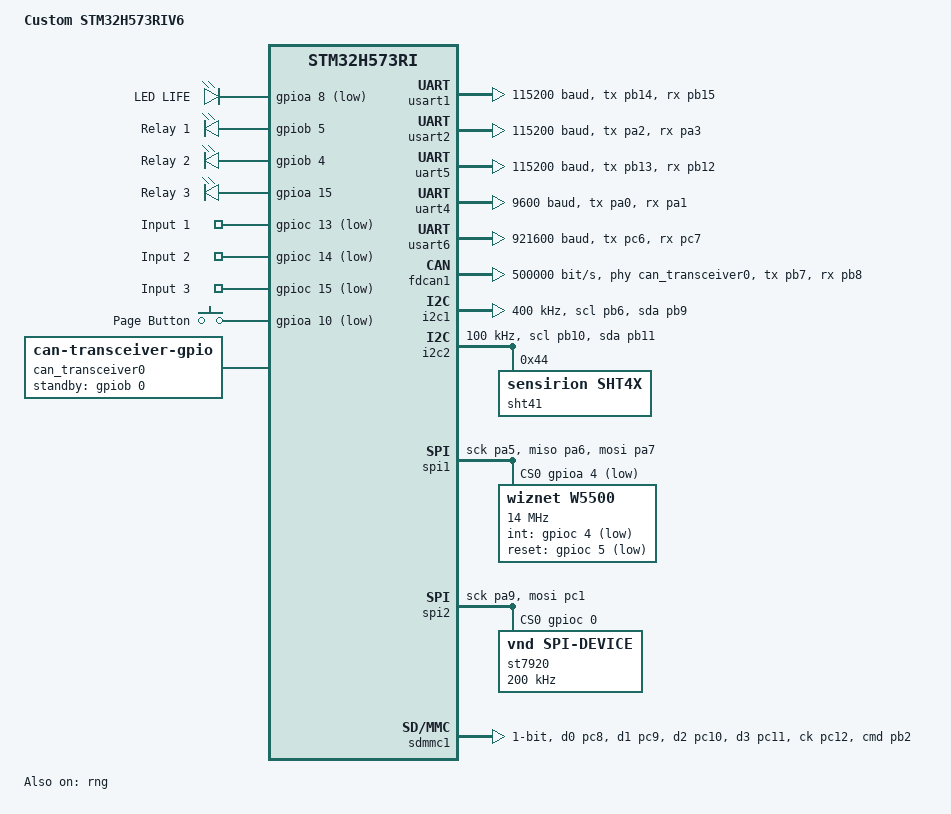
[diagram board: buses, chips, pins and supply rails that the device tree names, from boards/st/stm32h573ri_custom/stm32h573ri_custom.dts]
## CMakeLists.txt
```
cmake_minimum_required(VERSION 3.20.0)
find_package(Zephyr REQUIRED HINTS $ENV{ZEPHYR_BASE})
project(FPT_DMI_Embedded-IoT_Course VERSION 1.0.0)

# Thư mục chứa toàn bộ driver của môn học
set(DRIVER_DIR ${CMAKE_CURRENT_SOURCE_DIR}/driver)

# 1. Thư mục chứa file .h. Mỗi driver cần thêm thư mục của nó
#    VÀ thư mục của driver mà nó phụ thuộc (xem README của driver).
target_include_directories(app PRIVATE
  src
  # TODO (Sinh viên): thêm thư mục header của driver, ví dụ:
  ${DRIVER_DIR}/peripherals/gpio
  ${DRIVER_DIR}/peripherals/pwm
  ${DRIVER_DIR}/devices/hcsr04
  ${DRIVER_DIR}/devices/servo
)

# 2. Các file .c cần biên dịch.
target_sources(app PRIVATE
  src/main.c
  # TODO (Sinh viên): thêm file .c của driver, ví dụ:
  ${DRIVER_DIR}/peripherals/gpio/driver_gpio.c
  ${DRIVER_DIR}/peripherals/pwm/driver_pwm.c
  ${DRIVER_DIR}/devices/hcsr04/driver_hcsr04.c
  ${DRIVER_DIR}/devices/servo/driver_servo.c
)
```

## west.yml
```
# west manifest for FPT_DMI_Embedded-IoT_Course.
#
#   west init -l --mf FPT_DMI_Embedded-IoT_Course/west.yml fptUniversity
#   (run from the directory that holds the fptUniversity clone)
#   west update
#
# Only the modules this course needs are fetched.
manifest:
  version: "1.2"

  remotes:
    - name: zephyrproject-rtos
      url-base: https://github.com/zephyrproject-rtos

  projects:
    - name: zephyr
      remote: zephyrproject-rtos
      revision: v4.4.2
      import:
        name-allowlist:
          - cmsis
          - cmsis_6
          - hal_stm32
          - mbedtls
          - mcuboot
          - picolibc
          - segger
          - tf-psa-crypto
          - zcbor

  self:
    path: fptUniversity
```

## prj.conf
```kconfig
# --- Log qua SEGGER RTT (đọc bằng scripts/rtt.sh) ---
CONFIG_PRINTK=y
CONFIG_CONSOLE=y
CONFIG_USE_SEGGER_RTT=y
CONFIG_RTT_CONSOLE=y
# Không dùng UART làm console (UART5 dành riêng cho log của MCUboot)
CONFIG_UART_CONSOLE=n
# Giữ SWD truy cập được khi CPU ngủ (WFI), nếu không RTT/nạp sẽ mất kết nối
CONFIG_STM32_ENABLE_DEBUG_SLEEP_STOP=y

# --- Bắt buộc khi chạy sau MCUboot ---
CONFIG_BOOTLOADER_MCUBOOT=y

# TODO (Sinh viên): thêm Kconfig của driver ở đây, ví dụ:
CONFIG_GPIO=y
CONFIG_SENSOR=y
CONFIG_HC_SR04=y
CONFIG_PWM=y
```

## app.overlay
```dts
/*
 * app.overlay - mô tả phần cứng bổ sung cho ứng dụng của bạn.
 *
 * KHÔNG sửa file board (boards/st/stm32h573ri_custom/). Mọi thay đổi đặt ở đây.
 *
 * TODO (Sinh viên): dán đoạn overlay trong README của driver vào đây.
 * Hướng dẫn chung: driver/README.md mục 2 và 3.
 *
 * Lưu ý:
 *  - Dòng #include phải nằm ở ĐẦU file.
 *  - Một nhãn (label) chỉ được khai báo MỘT lần.
 *  - Hai driver không được dùng chung một chân (driver/README.md mục 3.3).
 */

/* HC-SR04 (cấp 5 V từ U16-1): TRIG -> U16-7 (PC0), ECHO -> chia áp 1 kΩ / 2 kΩ -> U16-5 (PC2).
 * Servo nắp thùng: tín hiệu -> U16-16 (PB14, TIM12_CH1), nguồn 5 V riêng, chung GND.
 * LED ngoài: U16-8 (PE0) -> 330 Ω -> LED -> GND.
 */
/ {
	hcsr04: hcsr04 {
		compatible = "hc-sr04";
		trigger-gpios = <&gpioc 0 GPIO_ACTIVE_HIGH>;
		echo-gpios = <&gpioc 2 GPIO_ACTIVE_HIGH>;
	};

	servos {
		compatible = "pwm-leds";
		servo_a: servo_0 {
			pwms = <&pwm12 1 PWM_MSEC(20) PWM_POLARITY_NORMAL>;
		};
	};

	ext_outputs {
		compatible = "gpio-leds";
		ext_led: ext_led {
			gpios = <&gpioe 0 GPIO_ACTIVE_HIGH>;
			label = "External LED";
		};
	};

	aliases {
		distance0 = &hcsr04;
		servo0 = &servo_a;
		out0 = &ext_led;
	};
};

&gpioe { status = "okay"; };

/* PC0, PC2 thuộc SPI2; PB14 thuộc USART1 trong board DTS */
&spi2 { status = "disabled"; };
&usart1 { status = "disabled"; };

&pinctrl {
	tim12_ch1_pb14: tim12_ch1_pb14 {
		pinmux = <STM32_PINMUX('B', 14, AF2)>;
	};
};

&timers12 {
	st,prescaler = <99>;
	status = "okay";
	pwm12: pwm {
		pinctrl-0 = <&tim12_ch1_pb14>;
		pinctrl-names = "default";
		status = "okay";
	};
};
```

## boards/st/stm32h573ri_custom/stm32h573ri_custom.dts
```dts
/dts-v1/;
#include <st/h5/stm32h573Xi.dtsi>
#include "stm32h573ri_custom-pinctrl.dtsi"
/ {
    model="Custom STM32H573RIV6";
    compatible="st,stm32h573ri-custom";

    chosen {
        zephyr,console=&uart5;
        zephyr,shell-uart=&uart5;
        zephyr,sram=&sram1; zephyr,flash=&flash0;
        zephyr,code-partition=&slot0_partition;
        zephyr,canbus=&fdcan1;
        };

    leds {
        compatible="gpio-leds";
        /* LED5 "LED LIFE": anode to +3V3 via R81, cathode to PA8 -> active low */
        user_led: led_0 {
            gpios=<&gpioa 8 GPIO_ACTIVE_LOW>;
            label="LED LIFE";
        };
    };

    /*
     * Relays: MCU -> ISO7730 U12 -> BC817 -> coil, high = energised.
     * The schematic net names are reversed relative to the wiring; these
     * follow the wiring (PB5 drives RL1, PA15 drives RL3).
     */
    relays {
        compatible="gpio-leds";
        relay_1: relay_1 { gpios=<&gpiob 5 GPIO_ACTIVE_HIGH>;  label="Relay 1"; };
        relay_2: relay_2 { gpios=<&gpiob 4 GPIO_ACTIVE_HIGH>;  label="Relay 2"; };
        relay_3: relay_3 { gpios=<&gpioa 15 GPIO_ACTIVE_HIGH>; label="Relay 3"; };
    };

    /* Isolated inputs: PC814 opto -> ISO7730 U10 (push-pull), energised = low */
    digital_inputs {
        compatible="gpio-keys";
        input_1: input_1 { gpios=<&gpioc 13 GPIO_ACTIVE_LOW>; label="Input 1"; };
        input_2: input_2 { gpios=<&gpioc 14 GPIO_ACTIVE_LOW>; label="Input 2"; };
        input_3: input_3 { gpios=<&gpioc 15 GPIO_ACTIVE_LOW>; label="Input 3"; };
    };

    buttons {
        compatible = "gpio-keys";
        user_btn: button_0 {
            gpios = <&gpioa 10 (GPIO_ACTIVE_LOW | GPIO_PULL_UP)>;
            label = "Page Button";
        };
    };

    can_transceiver0: can-phy0 {
        compatible="can-transceiver-gpio";
        /* TCAN1057 S via ISO7731 U7, R90 pull-up: high = silent */
        standby-gpios=<&gpiob 0 GPIO_ACTIVE_HIGH>;
        max-bitrate=<1000000>;
        #phy-cells=<0>;
        };

    aliases {
        led0=&user_led;
        relay1=&relay_1; relay2=&relay_2; relay3=&relay_3;
        input1=&input_1; input2=&input_2; input3=&input_3;
    };
};

&clk_hsi { status="okay"; };

&clk_hsi48 { status="okay"; };

&clk_lsi { status="okay"; };

&pll1 {
    div-m=<32>;
    mul-n=<250>;
    div-p=<2>;
    div-q=<10>;
    div-r=<2>;
    clocks=<&clk_hsi>;
    status="okay";
};

&rcc {
    clocks=<&pll1>;
    clock-frequency=<DT_FREQ_M(250)>;
    ahb-prescaler=<1>;
    apb1-prescaler=<1>;
    apb2-prescaler=<1>;
    apb3-prescaler=<1>;
    };

&flash0 {
    partitions {
        compatible="fixed-partitions";
        #address-cells=<1>;
        #size-cells=<1>;

boot_partition:      partition@0      { label="mcuboot";       reg=<0x0      0x20000>; read-only; };
slot0_partition:     partition@20000  { label="image-0";       reg=<0x20000  0xb0000>; };
scratch_partition:   partition@d0000  { label="image-scratch"; reg=<0xd0000  0x20000>; };
slot1_partition:     partition@f0000  { label="image-1";       reg=<0xf0000  0xb0000>; };
storage_partition:   partition@1a0000 { label="config-a";      reg=<0x1a0000 0x8000>; };
storage_b_partition: partition@1a8000 { label="config-b";      reg=<0x1a8000 0x8000>; };
marker_partition:    partition@1b0000 { label="swapmark";      reg=<0x1b0000 0x2000>; }; }; };


&usart1 {
    pinctrl-0=<&usart1_tx_pb14 &usart1_rx_pb15>;
    pinctrl-names="default";
    current-speed=<115200>;
    status="okay";
    };

&usart2 {
    pinctrl-0=<&usart2_tx_pa2 &usart2_rx_pa3>;
    pinctrl-names="default";
    current-speed=<115200>;
    status="okay";
    };

&uart5 {
    pinctrl-0=<&uart5_tx_pb13 &uart5_rx_pb12>;
    pinctrl-names="default";
    current-speed=<115200>;
    status="okay";
    };

&uart4 {
    pinctrl-0=<&uart4_tx_pa0 &uart4_rx_pa1>;
    pinctrl-names="default";
    current-speed=<9600>;
    status="okay";
    };

&usart6 {
    pinctrl-0=<&usart6_tx_pc6 &usart6_rx_pc7>;
    pinctrl-names="default";
    current-speed=<921600>;
    status="okay";
    };

&fdcan1 {
    clocks=<&rcc STM32_CLOCK_BUS_APB1_2 0x00000200>,<&rcc STM32_SRC_PLL1_Q FDCAN_SEL(1)>;
    pinctrl-0=<&fdcan1_tx_pb7 &fdcan1_rx_pb8>;
    pinctrl-names="default";
    phys=<&can_transceiver0>;
    bitrate=<500000>;
    sample-point=<875>;
    status="okay";
    };

&i2c1 {
    clocks=<&rcc STM32_CLOCK_BUS_APB1 0x00200000>,<&rcc STM32_SRC_HSI I2C1_SEL(2)>;
    pinctrl-0=<&i2c1_scl_pb6 &i2c1_sda_pb9>;
    pinctrl-names="default";
    clock-frequency=<I2C_BITRATE_FAST>;
    status="okay";
    };

&i2c2 {
    clocks=<&rcc STM32_CLOCK_BUS_APB1 0x00400000>,<&rcc STM32_SRC_HSI I2C2_SEL(2)>;
    pinctrl-0=<&i2c2_scl_pb10 &i2c2_sda_pb11>;
    pinctrl-names="default";
    clock-frequency=<I2C_BITRATE_STANDARD>;
    status="okay";

    sht41: sht4x@44 {
        compatible="sensirion,sht4x";
        reg=<0x44>; repeatability=<2>;
        };
    };

&spi1 {
    pinctrl-0=<&spi1_sck_pa5 &spi1_miso_pa6 &spi1_mosi_pa7>;
    pinctrl-names="default";
    cs-gpios=<&gpioa 4 GPIO_ACTIVE_LOW>;
    status="okay";

    w5500: w5500@0 {
        compatible="wiznet,w5500";
        reg=<0>; spi-max-frequency=<14000000>;
        int-gpios=<&gpioc 4 GPIO_ACTIVE_LOW>;
        reset-gpios=<&gpioc 5 GPIO_ACTIVE_LOW>;
        local-mac-address=[00 08 DC 01 02 03];
        };
    };

&spi2 {
    /* Kernel clock = PLL1_Q (50 MHz): /256 gives ~195 kHz for the ST7920.
     * With the bus clock alone the driver divides 250 MHz and cannot go
     * below ~977 kHz, so every transfer is rejected. */
    clocks=<&rcc STM32_CLOCK_BUS_APB1 0x00004000>,<&rcc STM32_SRC_PLL1_Q SPI2_SEL(0)>;
    pinctrl-0 = <&spi2_sck_pa9 &spi2_mosi_pc1>;
    pinctrl-names = "default";
    cs-gpios = <&gpioc 0 GPIO_ACTIVE_HIGH>;
    status = "okay";

    st7920: st7920@0 {
        compatible = "vnd,spi-device";
        reg = <0>;
        spi-max-frequency = <200000>;
        };
    };

&sdmmc1 {
    pinctrl-0=<&sdmmc1_d0_pc8 &sdmmc1_d1_pc9 &sdmmc1_d2_pc10 &sdmmc1_d3_pc11 &sdmmc1_ck_pc12 &sdmmc1_cmd_pb2>;
    pinctrl-names="default";
    clocks=<&rcc STM32_CLOCK(AHB4, 11U)>,<&rcc STM32_SRC_HSI48 SDMMC1_SEL(0)>;
    bus-width=<1>; disk-name="SD"; status="okay";
    };

&gpioa { status="okay"; };

&gpiob { status="okay"; };

&gpioc { status="okay"; };

&gpiod { status="okay"; };

&rng { status="okay"; };
```

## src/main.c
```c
#include <errno.h>
#include <zephyr/kernel.h>
#include <zephyr/sys/printk.h>
#include "driver_gpio.h"
#include "driver_hcsr04.h"
#include "driver_servo.h"

#define SERVO         0
#define LED           0
#define LID_CLOSED    0
#define LID_OPEN      90
#define OPEN_MS       500
#define CLOSE_MS      1000
#define NEAR_MM       300
#define FAR_MM        450
#define NEAR_COUNT    2
#define CLOSE_DELAY_MS 3000
#define LOOP_MS       100
#define SAMPLES       3

static bool lid_open;

static void open_lid(void)
{
	driver_gpio_set(LED, true);
	driver_servo_sweep(SERVO, LID_CLOSED, LID_OPEN, OPEN_MS);
	lid_open = true;
	printk("Lid OPEN\n");
}

static void close_lid(void)
{
	driver_servo_sweep(SERVO, LID_OPEN, LID_CLOSED, CLOSE_MS);
	driver_gpio_set(LED, false);
	lid_open = false;
	printk("Lid CLOSED\n");
}

static int read_distance(uint32_t *mm)
{
	int ret = driver_hcsr04_read_avg_mm(SAMPLES, mm);

	if (ret == -ERANGE || ret == -EIO) {
		*mm = DRIVER_HCSR04_MAX_MM;
		return 0;
	}
	return ret;
}

int main(void)
{
	unsigned int near_cnt = 0;
	int64_t last_seen = 0;

	printk("Group6_SE2023: Smart trash bin (HC-SR04 + Servo + LED)\n");

	if (driver_hcsr04_init()) {
		printk("HC-SR04 init error\n");
		return 0;
	}
	if (driver_servo_init(SERVO, NULL)) {
		printk("Servo init error\n");
		return 0;
	}
	if (driver_gpio_out_init(LED) < 0) {
		printk("LED init error\n");
		return 0;
	}

	driver_servo_set_angle(SERVO, LID_CLOSED);
	lid_open = false;

	while (1) {
		uint32_t mm;
		int64_t now = k_uptime_get();

		if (read_distance(&mm)) {
			printk("HC-SR04 read error\n");
			k_msleep(LOOP_MS);
			continue;
		}

		if (!lid_open) {
			near_cnt = (mm <= NEAR_MM) ? near_cnt + 1 : 0;
			if (near_cnt >= NEAR_COUNT) {
				printk("Person detected at %u mm\n", mm);
				open_lid();
				last_seen = k_uptime_get();
				near_cnt = 0;
			}
		} else {
			if (mm <= FAR_MM) {
				last_seen = now;
			} else if (now - last_seen >= CLOSE_DELAY_MS) {
				printk("Person left, last distance %u mm\n", mm);
				close_lid();
			}
		}

		k_msleep(LOOP_MS);
	}
	return 0;
}
```
